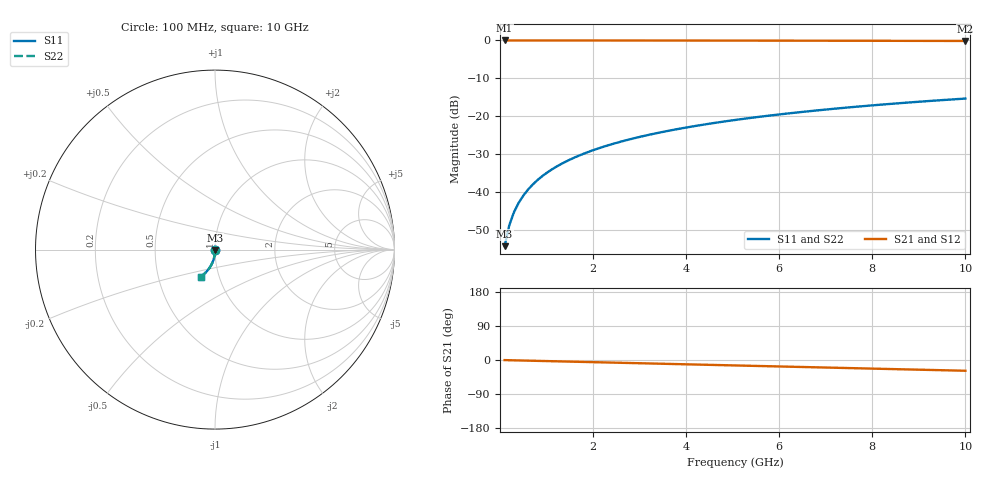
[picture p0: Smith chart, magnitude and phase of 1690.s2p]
# Hz S RI R 50.00
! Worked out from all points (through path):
!   100 points, 100 MHz to 10 GHz, reference 50 ohm
!   highest |S21| = -0.01 dB at 100 MHz (marker M1); lowest = -0.1 dB at 10 GHz (marker M2)
!   group delay of S21, straight-line fit = 7.89 ps
!   lowest |S11| = -54.3 dB at 100 MHz (marker M3), VSWR 1.00, Z = 50.1 - j0.178 ohm
!   |S11| at or under -10 dB: start of sweep to end of sweep
!   |S22| runs from -54.3 to -15.3 dB; largest |S21 - S12| = 0
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1e8  0.000731 -0.00178  0.9992 -0.00495  0.9992 -0.00495  0.000731 -0.00178
2e8  0.000706 -0.00356  0.9992 -0.0099  0.9992 -0.0099  0.000706 -0.00356
3e8  0.000663 -0.00534  0.9991 -0.0148  0.9991 -0.0148  0.000663 -0.00534
4e8  0.000601 -0.00712  0.999 -0.0198  0.999 -0.0198  0.000601 -0.00712
5e8  0.000521 -0.00891  0.9989 -0.0247  0.9989 -0.0247  0.000521 -0.00891
6e8  0.000423 -0.0107  0.9987 -0.0297  0.9987 -0.0297  0.000423 -0.0107
7e8  0.000307 -0.0125  0.9985 -0.0346  0.9985 -0.0346  0.000307 -0.0125
8e8  0.000174 -0.0142  0.9983 -0.0396  0.9983 -0.0396  0.000174 -0.0142
9e8  2.27e-05 -0.016  0.9981 -0.0445  0.9981 -0.0445  2.27e-05 -0.016
1.1e9  -0.000333 -0.0196  0.9975 -0.0544  0.9975 -0.0544  -0.000333 -0.0196
1.4e9  -0.000998 -0.0249  0.9965 -0.0692  0.9965 -0.0692  -0.000998 -0.0249
1.8e9  -0.00213 -0.0319  0.9947 -0.089  0.9947 -0.089  -0.00213 -0.0319
2.1e9  -0.00317 -0.0372  0.993 -0.1037  0.993 -0.1037  -0.00317 -0.0372
2.5e9  -0.00479 -0.0441  0.9905 -0.1234  0.9905 -0.1234  -0.00479 -0.0441
2.9e9  -0.00668 -0.051  0.9875 -0.143  0.9875 -0.143  -0.00668 -0.051
3.4e9  -0.00944 -0.0596  0.9831 -0.1673  0.9831 -0.1673  -0.00944 -0.0596
4.2e9  -0.0147 -0.0729  0.9747 -0.206  0.9747 -0.206  -0.0147 -0.0729
5.1e9  -0.0219 -0.0873  0.9633 -0.249  0.9633 -0.249  -0.0219 -0.0873
5.9e9  -0.0293 -0.0995  0.9513 -0.2866  0.9513 -0.2866  -0.0293 -0.0995
6.7e9  -0.0377 -0.1111  0.9378 -0.3236  0.9378 -0.3236  -0.0377 -0.1111
8.4e9  -0.0583 -0.1333  0.9038 -0.3997  0.9038 -0.3997  -0.0583 -0.1333
1e10  -0.0807 -0.1506  0.8658 -0.4677  0.8658 -0.4677  -0.0807 -0.1506
